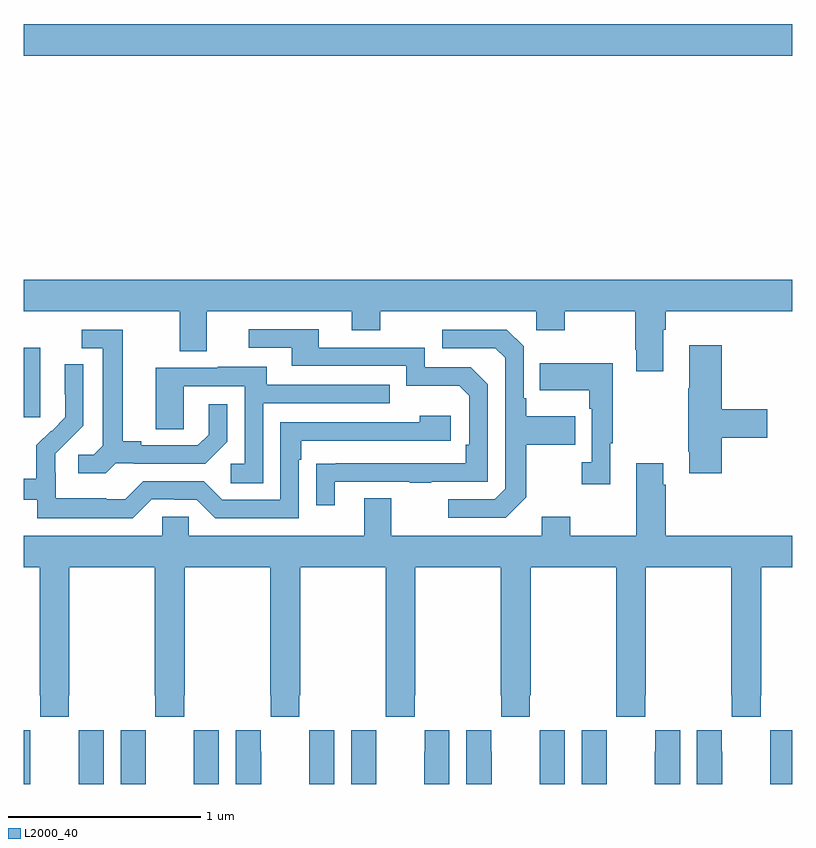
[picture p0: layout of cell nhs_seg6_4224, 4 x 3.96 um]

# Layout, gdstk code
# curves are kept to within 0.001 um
import gdstk
lib = gdstk.Library(unit=1e-6, precision=1e-09)
def R(c, l, rs):  # rectangles x0, y0, x1, y1
    for r in rs: c.add(gdstk.rectangle(r[:2], r[2:], *l))
def P(c, l, *ps):  # polygons
    for p in ps: c.add(gdstk.Polygon(p, *l))
L2000_40 = (2000, 40)

nhs_seg6_4224 = lib.new_cell('nhs_seg6_4224')
R(nhs_seg6_4224, L2000_40, [(359,989.409,359.086,989.77), (359,991.292,363,991.456)])
P(nhs_seg6_4224, L2000_40, [(359,989.96),(359.813,989.96),(359.813,989.752),(359.953,989.752),(359.953,989.96),(360.707,989.96),(360.707,989.861),(360.855,989.861),(360.855,989.96),(361.668,989.96),(361.668,989.861),(361.815,989.861),(361.815,989.96),(362.182,989.96),(362.182,989.761),(362.189,989.761),(362.189,989.649),(362.329,989.649),(362.329,989.864),(362.342,989.864),(362.342,989.96),(363,989.96),(363,990.124),(359,990.124)],
  [(360.619,989.073),(361.009,989.073),(361.009,989.068),(361.121,989.068),(361.121,989.073),(361.416,989.073),(361.416,989.58),(361.326,989.67),(361.086,989.67),(361.086,989.772),(360.535,989.772),(360.535,989.868),(360.171,989.868),(360.171,989.772),(360.395,989.772),(360.395,989.676),(360.99,989.676),(360.99,989.573),(361.267,989.573),(361.32,989.52),(361.32,989.266),(361.3,989.266),(361.3,989.169),(360.523,989.168),(360.523,988.95),(360.619,988.95)],
  [(361.615,988.993),(361.615,989.266),(361.871,989.266),(361.871,989.413),(361.615,989.413),(361.615,989.509),(361.602,989.509),(361.602,989.778),(361.515,989.865),(361.179,989.865),(361.179,989.769),(361.455,989.769),(361.506,989.718),(361.506,989.037),(361.452,988.983),(361.209,988.983),(361.209,988.887),(361.509,988.887)],
  [(359.478,989.169),(359.572,989.169),(359.572,989.166),(359.944,989.166),(360.06,989.282),(360.06,989.476),(359.963,989.476),(359.963,989.319),(359.906,989.262),(359.611,989.262),(359.611,989.285),(359.515,989.285),(359.515,989.865),(359.301,989.865),(359.301,989.769),(359.411,989.769),(359.411,989.261),(359.364,989.214),(359.283,989.214),(359.283,989.117),(359.426,989.117)],
  [(362.633,989.303),(362.869,989.303),(362.869,989.45),(362.633,989.45),(362.633,989.785),(362.465,989.785),(362.465,989.561),(362.458,989.561),(362.458,989.23),(362.465,989.23),(362.465,989.118),(362.633,989.118)],
  [(362.053,989.273),(362.065,989.273),(362.065,989.689),(361.687,989.689),(361.687,989.549),(361.944,989.549),(361.944,989.453),(361.956,989.453),(361.956,989.174),(361.905,989.174),(361.905,989.061),(362.053,989.061)],
  [(359.667,988.983),(359.783,988.983),(359.783,988.98),(359.901,988.98),(359.997,988.884),(360.432,988.884),(360.432,989.189),(360.445,989.189),(360.445,989.286),(361.222,989.286),(361.222,989.416),(361.061,989.416),(361.061,989.382),(360.336,989.382),(360.336,988.98),(360.033,988.98),(359.937,989.076),(359.622,989.076),(359.529,988.983),(359.429,988.983),(359.429,988.987),(359.166,988.987),(359.166,989.121),(359.164,989.121),(359.164,989.218),(359.31,989.366),(359.31,989.684),(359.214,989.684),(359.214,989.53),(359.216,989.53),(359.216,989.408),(359.145,989.337),(359.142,989.34),(359.065,989.263),(359.065,989.089),(359,989.089),(359,988.98),(359.07,988.98),(359.07,988.883),(359.567,988.883)],
  [(360.246,989.481),(360.905,989.481),(360.905,989.577),(360.265,989.577),(360.265,989.671),(360.011,989.671),(360.011,989.667),(359.687,989.667),(359.687,989.347),(359.832,989.347),(359.832,989.571),(360.15,989.571),(360.15,989.166),(360.078,989.166),(360.078,989.065),(360.246,989.065)],
  [(359.235,987.961),(359.238,987.961),(359.238,988.628),(359.683,988.628),(359.683,987.961),(359.685,987.961),(359.685,987.849),(359.835,987.849),(359.835,987.961),(359.838,987.961),(359.838,988.628),(360.283,988.628),(360.283,987.961),(360.285,987.961),(360.285,987.849),(360.435,987.849),(360.435,987.961),(360.438,987.961),(360.438,988.628),(360.883,988.628),(360.883,987.961),(360.885,987.961),(360.885,987.849),(361.035,987.849),(361.035,987.961),(361.038,987.961),(361.038,988.628),(361.483,988.628),(361.483,987.961),(361.485,987.961),(361.485,987.849),(361.635,987.849),(361.635,987.961),(361.638,987.961),(361.638,988.628),(362.083,988.628),(362.083,987.961),(362.085,987.961),(362.085,987.849),(362.235,987.849),(362.235,987.961),(362.238,987.961),(362.238,988.628),(362.683,988.628),(362.683,987.961),(362.685,987.961),(362.685,987.849),(362.835,987.849),(362.835,987.961),(362.838,987.961),(362.838,988.628),(363,988.628),(363,988.792),(362.342,988.792),(362.342,989.057),(362.329,989.057),(362.329,989.17),(362.189,989.17),(362.189,988.792),(361.845,988.792),(361.845,988.891),(361.697,988.891),(361.697,988.792),(360.913,988.792),(360.913,988.987),(360.773,988.987),(360.773,988.792),(359.859,988.792),(359.859,988.89),(359.721,988.89),(359.721,988.792),(359,988.792),(359,988.628),(359.083,988.628),(359.083,987.961),(359.085,987.961),(359.085,987.849),(359.235,987.849)],
  [(360.835,987.668),(360.834,987.668),(360.834,987.781),(360.704,987.781),(360.704,987.5),(360.835,987.5)],
  [(361.216,987.781),(361.086,987.781),(361.086,987.668),(361.085,987.668),(361.085,987.5),(361.216,987.5)],
  [(359.635,987.668),(359.634,987.668),(359.634,987.781),(359.504,987.781),(359.504,987.5),(359.635,987.5)],
  [(360.616,987.781),(360.486,987.781),(360.486,987.668),(360.485,987.668),(360.485,987.5),(360.616,987.5)],
  [(360.235,987.668),(360.234,987.668),(360.234,987.781),(360.104,987.781),(360.104,987.5),(360.235,987.5)],
  [(360.016,987.781),(359.886,987.781),(359.886,987.668),(359.885,987.668),(359.885,987.5),(360.016,987.5)],
  [(359.035,987.668),(359.034,987.668),(359.034,987.781),(359,987.781),(359,987.5),(359.035,987.5)],
  [(363,987.781),(362.886,987.781),(362.886,987.668),(362.885,987.668),(362.885,987.5),(363,987.5)],
  [(362.635,987.668),(362.634,987.668),(362.634,987.781),(362.504,987.781),(362.504,987.5),(362.635,987.5)],
  [(362.416,987.781),(362.286,987.781),(362.286,987.668),(362.285,987.668),(362.285,987.5),(362.416,987.5)],
  [(362.035,987.668),(362.034,987.668),(362.034,987.781),(361.904,987.781),(361.904,987.5),(362.035,987.5)],
  [(361.816,987.781),(361.686,987.781),(361.686,987.668),(361.685,987.668),(361.685,987.5),(361.816,987.5)],
  [(361.435,987.668),(361.434,987.668),(361.434,987.781),(361.304,987.781),(361.304,987.5),(361.435,987.5)],
  [(359.416,987.781),(359.286,987.781),(359.286,987.668),(359.285,987.668),(359.285,987.5),(359.416,987.5)])

lib.write_gds('nhs_seg6_4224.gds')
